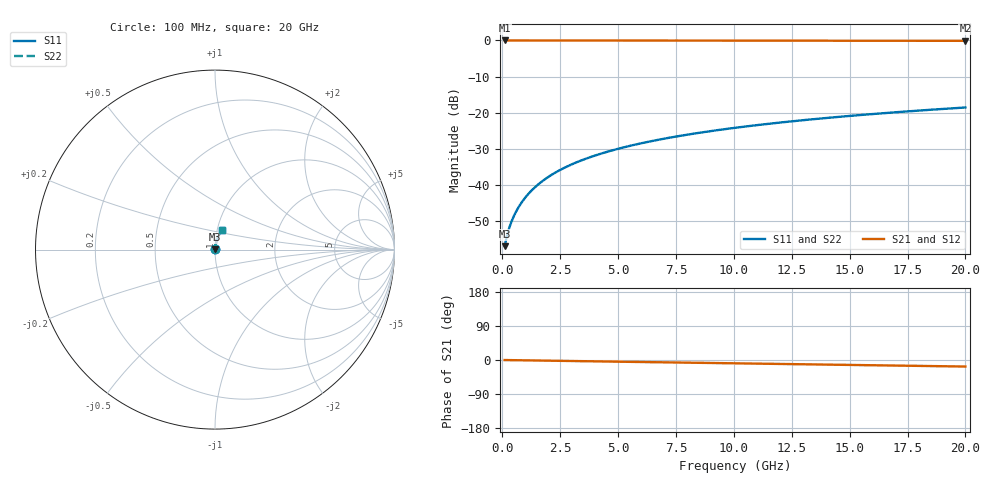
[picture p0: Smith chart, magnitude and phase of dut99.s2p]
! Touchstone file exported from HFSS 2026.1.0
!  File:  C:/ffzhzh/LocalFiles/Ansys_Project_Files/temp_train_BSMRDL_99_1782883386_46784.aedt
!  Generated:  01:24:18 PM Jul  1, 2026
!  Design:  BSMRDL
!  Project:  temp_train_BSMRDL_99_1782883386_46784
! Variables:
!  h_bsmrdl = 3.78um
!  h_ox = 20um
!  h_rdl = 5um
!  h_sub = 80um
!  h_tmrdl = 5um
!  h_tsv = 80um
!  h_via = 3um
!  l_bsmrdl = 257.67um
!  l_sub = 657.67um
!  l_tmrdl = 200um
!  m_sub = 200um
!  pitch = 38.53um
!  r_tsv = 6um
!  s_tmrdl = 10um
!  w_bsmrdl = 24.63um
!  w_sub = 500um
!  w_tmrdl = 12um
!  x_tsv_center1 = 206um
!  x_tsv_center2 = 488.3um
!  x_tsv_center3 = 700.3um
!  x_tsv_center4 = 982.6um
!  x_tsv_center5 = 1194.6um
!  x_tsv_center6 = 1476.9um
# GHz S MA R 50.000000
! Terminal data exported
! Port[1] = BSM_RDL1_1_T1
! Port[2] = BSM_RDL1_1_T2
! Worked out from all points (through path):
!   200 points, 100 MHz to 20 GHz, reference 50 ohm
!   highest |S21| = -0.01 dB at 100 MHz (marker M1); lowest = -0.1 dB at 20 GHz (marker M2)
!   group delay of S21, straight-line fit = 2.39 ps
!   lowest |S11| = -56.8 dB at 100 MHz (marker M3), VSWR 1.00, Z = 50.1 + j0.0781 ohm
!   |S11| at or under -10 dB: start of sweep to end of sweep
!   |S22| runs from -56.8 to -18.5 dB; largest |S21 - S12| = 2.4e-15
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0.1  0.001441 32.7  0.9988 -0.1  0.9988 -0.1  0.001441 32.7
! Gamma 0 0 0 0
! Port Impedance 50 0 50 0
0.2  0.001989 48.9  0.9987 -0.2  0.9987 -0.2  0.001989 48.9
0.3  0.002577 57.0  0.9986 -0.3  0.9986 -0.3  0.002577 57.0
0.4  0.003165 62.2  0.9985 -0.4  0.9985 -0.4  0.003165 62.2
0.5  0.003756 65.9  0.9985 -0.5  0.9985 -0.5  0.003756 65.9
0.6  0.004353 68.7  0.9984 -0.5  0.9984 -0.5  0.004353 68.7
0.8  0.005567 72.7  0.9984 -0.7  0.9984 -0.7  0.005567 72.6
1  0.006802 75.2  0.9983 -0.9  0.9983 -0.9  0.006802 75.2
1.2  0.008052 77.0  0.9983 -1.1  0.9983 -1.1  0.008052 77.0
1.4  0.009311 78.2  0.9982 -1.3  0.9982 -1.3  0.009311 78.2
1.7  0.01121 79.4  0.9982 -1.5  0.9982 -1.5  0.01121 79.4
2.2  0.01438 80.6  0.998 -2.0  0.998 -2.0  0.01438 80.6
2.8  0.01817 81.1  0.9978 -2.5  0.9978 -2.5  0.01817 81.1
3.5  0.02257 81.3  0.9975 -3.1  0.9975 -3.1  0.02257 81.3
4.2  0.02694 81.1  0.9972 -3.7  0.9972 -3.7  0.02694 81.1
5  0.03188 80.8  0.9968 -4.4  0.9968 -4.4  0.03188 80.8
6.8  0.04283 79.7  0.9958 -6.0  0.9958 -6.0  0.04283 79.7
8.3  0.05179 78.6  0.995 -7.3  0.995 -7.3  0.05179 78.6
10.1  0.0624 77.3  0.9939 -8.8  0.9939 -8.8  0.0624 77.3
13.4  0.08152 74.9  0.9918 -11.7  0.9918 -11.7  0.08152 74.9
16.7  0.1002 72.4  0.9895 -14.5  0.9895 -14.5  0.1002 72.4
20  0.1186 69.8  0.9869 -17.3  0.9869 -17.3  0.1186 69.8
